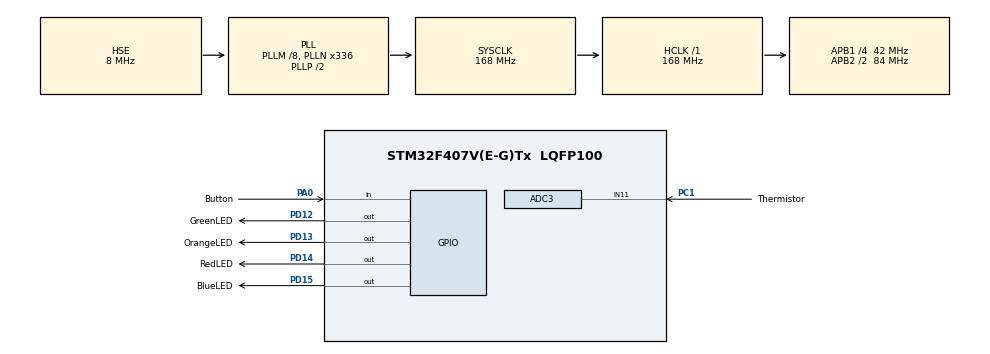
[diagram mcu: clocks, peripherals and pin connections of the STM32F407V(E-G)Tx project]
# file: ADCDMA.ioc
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ADC1.Channel-4\#ChannelRegularConversion=ADC_CHANNEL_TEMPSENSOR
ADC1.ContinuousConvMode=ENABLE
ADC1.DMAContinuousRequests=ENABLE
ADC1.InjNumberOfConversion=0
ADC1.NbrOfConversionFlag=1
ADC1.Rank-4\#ChannelRegularConversion=1
ADC1.SamplingTime-4\#ChannelRegularConversion=ADC_SAMPLETIME_84CYCLES
ADC1.master=1
ADC3.Channel-1\#ChannelRegularConversion=ADC_CHANNEL_11
ADC3.ContinuousConvMode=ENABLE
ADC3.DMAContinuousRequests=ENABLE
ADC3.NbrOfConversionFlag=1
ADC3.Rank-1\#ChannelRegularConversion=1
ADC3.SamplingTime-1\#ChannelRegularConversion=ADC_SAMPLETIME_84CYCLES
Dma.ADC1.0.Direction=DMA_PERIPH_TO_MEMORY
Dma.ADC1.0.FIFOMode=DMA_FIFOMODE_DISABLE
Dma.ADC1.0.Instance=DMA2_Stream4
Dma.ADC1.0.MemDataAlignment=DMA_MDATAALIGN_WORD
Dma.ADC1.0.MemInc=DMA_MINC_ENABLE
Dma.ADC1.0.Mode=DMA_CIRCULAR
Dma.ADC1.0.PeriphDataAlignment=DMA_PDATAALIGN_WORD
Dma.ADC1.0.PeriphInc=DMA_PINC_DISABLE
Dma.ADC1.0.Priority=DMA_PRIORITY_LOW
Dma.ADC3.1.Direction=DMA_PERIPH_TO_MEMORY
Dma.ADC3.1.FIFOMode=DMA_FIFOMODE_DISABLE
Dma.ADC3.1.Instance=DMA2_Stream0
Dma.ADC3.1.MemDataAlignment=DMA_MDATAALIGN_WORD
Dma.ADC3.1.MemInc=DMA_MINC_ENABLE
Dma.ADC3.1.Mode=DMA_CIRCULAR
Dma.ADC3.1.PeriphDataAlignment=DMA_PDATAALIGN_WORD
Dma.ADC3.1.PeriphInc=DMA_PINC_DISABLE
Dma.ADC3.1.Priority=DMA_PRIORITY_LOW
Dma.Request0=ADC1
Dma.Request1=ADC3
Mcu.Family=STM32F4
Mcu.Name=STM32F407V(E-G)Tx
Mcu.Package=LQFP100
NVIC.ADC_IRQn=true\:0\:0\:false\:false\:true\:true\:true
NVIC.DMA2_Stream0_IRQn=true\:0\:0\:false\:false\:true\:false\:true
NVIC.DMA2_Stream4_IRQn=true\:0\:0\:false\:false\:true\:false\:true
NVIC.PriorityGroup=NVIC_PRIORITYGROUP_4
PA0-WKUP.GPIO_Label=Button
PA0-WKUP.Signal=GPIO_Input
PA13.Mode=Trace_Asynchronous_SW
PA13.Signal=SYS_JTMS-SWDIO
PA14.Mode=Trace_Asynchronous_SW
PA14.Signal=SYS_JTCK-SWCLK
PB3.Mode=Trace_Asynchronous_SW
PB3.Signal=SYS_JTDO-SWO
PC1.GPIO_Label=Thermistor
PC1.Signal=ADCx_IN11
PD12.GPIO_Label=GreenLED
PD12.Signal=GPIO_Output
PD13.GPIO_Label=OrangeLED
PD13.Signal=GPIO_Output
PD14.GPIO_Label=RedLED
PD14.Signal=GPIO_Output
PD15.GPIO_Label=BlueLED
PD15.Signal=GPIO_Output
PH0-OSC_IN.Mode=HSE-External-Oscillator
PH0-OSC_IN.Signal=RCC_OSC_IN
PH1-OSC_OUT.Mode=HSE-External-Oscillator
PH1-OSC_OUT.Signal=RCC_OSC_OUT
ProjectManager.HeapSize=0x200
ProjectManager.StackSize=0x400
ProjectManager.TargetToolchain=STM32CubeIDE
RCC.48MHZClocksFreq_Value=48000000
RCC.AHBFreq_Value=168000000
RCC.APB1CLKDivider=RCC_HCLK_DIV4
RCC.APB1Freq_Value=42000000
RCC.APB1TimFreq_Value=84000000
RCC.APB2CLKDivider=RCC_HCLK_DIV2
RCC.APB2Freq_Value=84000000
RCC.APB2TimFreq_Value=168000000
RCC.CortexFreq_Value=168000000
RCC.HCLKFreq_Value=168000000
RCC.HSE_VALUE=8000000
RCC.HSI_VALUE=16000000
RCC.LSE_VALUE=32768
RCC.PLLM=8
RCC.PLLN=336
RCC.PLLQ=7
RCC.PLLSourceVirtual=RCC_PLLSOURCE_HSE
RCC.SYSCLKFreq_VALUE=168000000
RCC.SYSCLKSource=RCC_SYSCLKSOURCE_PLLCLK
RCC.VCOOutputFreq_Value=336000000
SH.ADCx_IN11.0=ADC3_IN11,IN11
VP_ADC1_TempSens_Input.Mode=IN-TempSens
VP_RNG_VS_RNG.Mode=RNG_Activate
board=custom

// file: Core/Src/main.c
/* USER CODE BEGIN Header */
/**
  ******************************************************************************
  * @file           : main.c
  * @brief          : Main program body
  * @name			: Chase Westlake
  *
  * Description: Program uses DMA to assign 100 samples of the internal temp and thermistor temp to
  * 			 their respective arrays. The samples are then averaged and calculated to produce
  * 			 two seperate temperatures in Celcius.
  *
  ******************************************************************************
  * @attention
  *
  * <h2><center>&copy; Copyright (c) 2020 STMicroelectronics.
  * All rights reserved.</center></h2>
  *
  * This software component is licensed by ST under BSD 3-Clause license,
  * the "License"; You may not use this file except in compliance with the
  * License. You may obtain a copy of the License at:
  *                        opensource.org/licenses/BSD-3-Clause
  *
  ******************************************************************************
  */
/* USER CODE END Header */
#include "main.h"

/* USER CODE BEGIN Includes */
#include <stdio.h>
#include <math.h>
/* USER CODE END Includes */

ADC_HandleTypeDef hadc1;
ADC_HandleTypeDef hadc3;
DMA_HandleTypeDef hdma_adc1;
DMA_HandleTypeDef hdma_adc3;

RNG_HandleTypeDef hrng;

void SystemClock_Config(void);
static void MX_GPIO_Init(void);
static void MX_DMA_Init(void);
static void MX_ADC1_Init(void);
static void MX_RNG_Init(void);
static void MX_ADC3_Init(void);
/* USER CODE BEGIN PFP */

double dieVal();
double thermVal();
void blinkOn();
void blinkOff();

/* USER CODE END PFP */

/* USER CODE BEGIN 0 */
uint32_t thermArray [100];
double thermValue;
uint32_t dieArray[100];
double dieValue;
float C;
float intTemp;
float internalTemperature;
float Vsense;
/* USER CODE END 0 */

int main(void)
{

  /* MCU Configuration--------------------------------------------------------*/

  /* Reset of all peripherals, Initializes the Flash interface and the Systick. */
  HAL_Init();

  /* Configure the system clock */
  SystemClock_Config();

  /* Initialize all configured peripherals */
  MX_GPIO_Init();
  MX_DMA_Init();
  MX_ADC1_Init();
  MX_RNG_Init();
  MX_ADC3_Init();
  /* USER CODE BEGIN 2 */
  HAL_ADC_Start_DMA(&hadc3, thermArray, 100);
  HAL_ADC_Start_DMA(&hadc1, dieArray, 100);
  /* USER CODE END 2 */

  /* Infinite loop */
  while (1)
  {

    /* USER CODE BEGIN 3 */

	  //HAL_ADC_START(&hadc1);
	  blinkOn();
	  thermValue = thermVal();
	  dieValue = dieVal();
	  blinkOff();

	  /*
	   * Acquire the C value with the following math:
	   *
	   * seriesResistance = 100k ohms
	   * ThermistorResistance = 10k ohms
	   * Coefficient = 3950
	   * temperatureNominal = 25
	   *
	   * thermValue = 4095 / thermvalue - 1
	   * thermValue = seriesResistance / thermValue  --- Provides thermistor resistance
	   *
	   *
	   * C = thermValue / ThermistorResistance
	   * C = log(c)
	   * C = C / Coefficient
	   * C = C + 1 / (temperatureNominal + 273.15) -- converts to kelvin
	   * C = 1 / C  		  -- inverts
	   * C = C - 273.15		  -- produces C value
	   */

	  //Does math required to produce celcius value from thermistor
	  C = (1 / ((log((100000/(4095/thermValue))/100000)/3950) + (1/(25+273.15)))) - 273.15;
	  printf("Temperature from thermistor is: %.1f\n", C); //Prints C

	  /*internalTemperature reads the internal die value, then converts that value
	   * to a voltage. That voltage is then converted to Celcius.
	   *
	   * voltage at 25C is 0.76V
	   * average slope is 2.5mV/degree
	   *
	   * temperature = ((Vsense - V25)/avg_slope) + 25
	   * V25 = Vsense value for 25C
	   *
	   * Vsense = 4095/die, 4095/die converts die value to voltage
	   */
	  internalTemperature = (((4095/dieValue) - 0.76)/2.5) + 25;
	  printf("Internal temperature is: %.1f\n\n", internalTemperature); //prints internal temp.

	  HAL_Delay(500);
  }
  /* USER CODE END 3 */
}

void SystemClock_Config(void)
{
  RCC_OscInitTypeDef RCC_OscInitStruct = {0};
  RCC_ClkInitTypeDef RCC_ClkInitStruct = {0};

  /** Configure the main internal regulator output voltage
  */
  __HAL_RCC_PWR_CLK_ENABLE();
  __HAL_PWR_VOLTAGESCALING_CONFIG(PWR_REGULATOR_VOLTAGE_SCALE1);
  /** Initializes the RCC Oscillators according to the specified parameters
  * in the RCC_OscInitTypeDef structure.
  */
  RCC_OscInitStruct.OscillatorType = RCC_OSCILLATORTYPE_HSE;
  RCC_OscInitStruct.HSEState = RCC_HSE_ON;
  RCC_OscInitStruct.PLL.PLLState = RCC_PLL_ON;
  RCC_OscInitStruct.PLL.PLLSource = RCC_PLLSOURCE_HSE;
  RCC_OscInitStruct.PLL.PLLM = 8;
  RCC_OscInitStruct.PLL.PLLN = 336;
  RCC_OscInitStruct.PLL.PLLP = RCC_PLLP_DIV2;
  RCC_OscInitStruct.PLL.PLLQ = 7;
  if (HAL_RCC_OscConfig(&RCC_OscInitStruct) != HAL_OK)
  {
    Error_Handler();
  }
  /** Initializes the CPU, AHB and APB buses clocks
  */
  RCC_ClkInitStruct.ClockType = RCC_CLOCKTYPE_HCLK|RCC_CLOCKTYPE_SYSCLK
                              |RCC_CLOCKTYPE_PCLK1|RCC_CLOCKTYPE_PCLK2;
  RCC_ClkInitStruct.SYSCLKSource = RCC_SYSCLKSOURCE_PLLCLK;
  RCC_ClkInitStruct.AHBCLKDivider = RCC_SYSCLK_DIV1;
  RCC_ClkInitStruct.APB1CLKDivider = RCC_HCLK_DIV4;
  RCC_ClkInitStruct.APB2CLKDivider = RCC_HCLK_DIV2;

  if (HAL_RCC_ClockConfig(&RCC_ClkInitStruct, FLASH_LATENCY_5) != HAL_OK)
  {
    Error_Handler();
  }
}

static void MX_ADC1_Init(void)
{

  ADC_ChannelConfTypeDef sConfig = {0};

  /** Configure the global features of the ADC (Clock, Resolution, Data Alignment and number of conversion)
  */
  hadc1.Instance = ADC1;
  hadc1.Init.ClockPrescaler = ADC_CLOCK_SYNC_PCLK_DIV4;
  hadc1.Init.Resolution = ADC_RESOLUTION_12B;
  hadc1.Init.ScanConvMode = DISABLE;
  hadc1.Init.ContinuousConvMode = ENABLE;
  hadc1.Init.DiscontinuousConvMode = DISABLE;
  hadc1.Init.ExternalTrigConvEdge = ADC_EXTERNALTRIGCONVEDGE_NONE;
  hadc1.Init.ExternalTrigConv = ADC_SOFTWARE_START;
  hadc1.Init.DataAlign = ADC_DATAALIGN_RIGHT;
  hadc1.Init.NbrOfConversion = 1;
  hadc1.Init.DMAContinuousRequests = ENABLE;
  hadc1.Init.EOCSelection = ADC_EOC_SINGLE_CONV;
  if (HAL_ADC_Init(&hadc1) != HAL_OK)
  {
    Error_Handler();
  }
  /** Configure for the selected ADC regular channel its corresponding rank in the sequencer and its sample time.
  */
  sConfig.Channel = ADC_CHANNEL_TEMPSENSOR;
  sConfig.Rank = 1;
  sConfig.SamplingTime = ADC_SAMPLETIME_84CYCLES;
  if (HAL_ADC_ConfigChannel(&hadc1, &sConfig) != HAL_OK)
  {
    Error_Handler();
  }

}

static void MX_ADC3_Init(void)
{

  ADC_ChannelConfTypeDef sConfig = {0};

  /** Configure the global features of the ADC (Clock, Resolution, Data Alignment and number of conversion)
  */
  hadc3.Instance = ADC3;
  hadc3.Init.ClockPrescaler = ADC_CLOCK_SYNC_PCLK_DIV4;
  hadc3.Init.Resolution = ADC_RESOLUTION_12B;
  hadc3.Init.ScanConvMode = DISABLE;
  hadc3.Init.ContinuousConvMode = ENABLE;
  hadc3.Init.DiscontinuousConvMode = DISABLE;
  hadc3.Init.ExternalTrigConvEdge = ADC_EXTERNALTRIGCONVEDGE_NONE;
  hadc3.Init.ExternalTrigConv = ADC_SOFTWARE_START;
  hadc3.Init.DataAlign = ADC_DATAALIGN_RIGHT;
  hadc3.Init.NbrOfConversion = 1;
  hadc3.Init.DMAContinuousRequests = ENABLE;
  hadc3.Init.EOCSelection = ADC_EOC_SINGLE_CONV;
  if (HAL_ADC_Init(&hadc3) != HAL_OK)
  {
    Error_Handler();
  }
  /** Configure for the selected ADC regular channel its corresponding rank in the sequencer and its sample time.
  */
  sConfig.Channel = ADC_CHANNEL_11;
  sConfig.Rank = 1;
  sConfig.SamplingTime = ADC_SAMPLETIME_84CYCLES;
  if (HAL_ADC_ConfigChannel(&hadc3, &sConfig) != HAL_OK)
  {
    Error_Handler();
  }

}

static void MX_RNG_Init(void)
{

  hrng.Instance = RNG;
  if (HAL_RNG_Init(&hrng) != HAL_OK)
  {
    Error_Handler();
  }

}

static void MX_DMA_Init(void)
{

  /* DMA controller clock enable */
  __HAL_RCC_DMA2_CLK_ENABLE();

  /* DMA interrupt init */
  /* DMA2_Stream0_IRQn interrupt configuration */
  HAL_NVIC_SetPriority(DMA2_Stream0_IRQn, 0, 0);
  HAL_NVIC_EnableIRQ(DMA2_Stream0_IRQn);
  /* DMA2_Stream4_IRQn interrupt configuration */
  HAL_NVIC_SetPriority(DMA2_Stream4_IRQn, 0, 0);
  HAL_NVIC_EnableIRQ(DMA2_Stream4_IRQn);

}

static void MX_GPIO_Init(void)
{
  GPIO_InitTypeDef GPIO_InitStruct = {0};

  /* GPIO Ports Clock Enable */
  __HAL_RCC_GPIOH_CLK_ENABLE();
  __HAL_RCC_GPIOC_CLK_ENABLE();
  __HAL_RCC_GPIOA_CLK_ENABLE();
  __HAL_RCC_GPIOD_CLK_ENABLE();
  __HAL_RCC_GPIOB_CLK_ENABLE();

  /*Configure GPIO pin Output Level */
  HAL_GPIO_WritePin(GPIOD, GreenLED_Pin|OrangeLED_Pin|RedLED_Pin|BlueLED_Pin, GPIO_PIN_RESET);

  /*Configure GPIO pin : Button_Pin */
  GPIO_InitStruct.Pin = Button_Pin;
  GPIO_InitStruct.Mode = GPIO_MODE_INPUT;
  GPIO_InitStruct.Pull = GPIO_NOPULL;
  HAL_GPIO_Init(Button_GPIO_Port, &GPIO_InitStruct);

  /*Configure GPIO pins : GreenLED_Pin OrangeLED_Pin RedLED_Pin BlueLED_Pin */
  GPIO_InitStruct.Pin = GreenLED_Pin|OrangeLED_Pin|RedLED_Pin|BlueLED_Pin;
  GPIO_InitStruct.Mode = GPIO_MODE_OUTPUT_PP;
  GPIO_InitStruct.Pull = GPIO_NOPULL;
  GPIO_InitStruct.Speed = GPIO_SPEED_FREQ_LOW;
  HAL_GPIO_Init(GPIOD, &GPIO_InitStruct);

}

/* USER CODE BEGIN 4 */

double dieVal(){
	//Iterates through dieArrary, adding to dieValue
	for(int i = 0 ; i < 100 ; i++){
	  dieValue += dieArray[i];
	}
	//Averages the values from dieArray in dieValue.
	dieValue /= 100;

	return dieValue;
}

double thermVal(){
	//Iterates through thermArrary, adding to thermValue
	for(int i = 0 ; i < 100 ; i++){
	  thermValue += thermArray[i];
	}
	//Averages the values from thermArray in thermValue.
	thermValue /= 100;

	return thermValue;
}

void blinkOn(){
	HAL_GPIO_WritePin(OrangeLED_GPIO_Port, OrangeLED_Pin, GPIO_PIN_SET);
	HAL_Delay(250);
}

void blinkOff(){
	HAL_GPIO_WritePin(OrangeLED_GPIO_Port, OrangeLED_Pin, GPIO_PIN_RESET);
	HAL_Delay(250);
}

//Enables printf
int __io_putchar(int ch)
{
	ITM_SendChar(ch);
	return 0;
}
/* USER CODE END 4 */

void Error_Handler(void)
{
}

/************************ (C) COPYRIGHT STMicroelectronics *****END OF FILE****/
